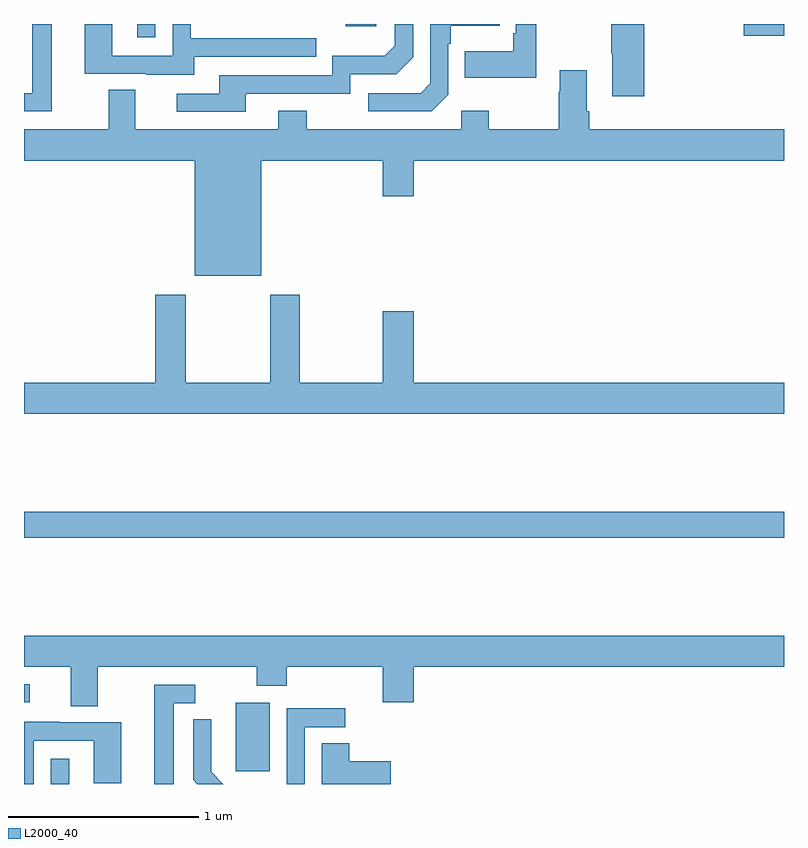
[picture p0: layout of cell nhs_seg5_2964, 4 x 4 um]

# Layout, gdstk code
import gdstk
lib = gdstk.Library(unit=1e-6, precision=1e-09)
def R(c, l, rs):  # rectangles x0, y0, x1, y1
    for r in rs: c.add(gdstk.rectangle(r[:2], r[2:], *l))
def P(c, l, *ps):  # polygons
    for p in ps: c.add(gdstk.Polygon(p, *l))
L2000_40 = (2000, 40)

nhs_seg5_2964 = lib.new_cell('nhs_seg5_2964')
R(nhs_seg5_2964, L2000_40, [(283.14,866.799,283.237,866.932), (284.114,866.865,284.293,867.226), (283,867.228,283.03,867.324), (283,868.096,287,868.232), (283.595,870.729,283.692,870.799), (286.788,870.737,287,870.799), (284.693,870.788,284.854,870.799)])
P(nhs_seg5_2964, L2000_40, [(283.897,870.627),(284.537,870.627),(284.537,870.723),(283.878,870.723),(283.878,870.799),(283.782,870.799),(283.782,870.633),(283.464,870.633),(283.464,870.799),(283.319,870.799),(283.319,870.537),(283.643,870.537),(283.643,870.533),(283.897,870.533)],
  [(285.234,870.426),(285.234,870.695),(285.247,870.695),(285.247,870.791),(285.503,870.791),(285.503,870.799),(285.138,870.799),(285.138,870.486),(285.087,870.435),(284.811,870.435),(284.811,870.339),(285.147,870.339)],
  [(285.697,870.799),(285.588,870.799),(285.588,870.751),(285.576,870.751),(285.576,870.655),(285.319,870.655),(285.319,870.515),(285.697,870.515)],
  [(284.167,870.432),(284.718,870.432),(284.718,870.534),(284.958,870.534),(285.048,870.624),(285.048,870.799),(284.952,870.799),(284.952,870.684),(284.899,870.631),(284.622,870.631),(284.622,870.528),(284.027,870.528),(284.027,870.432),(283.803,870.432),(283.803,870.336),(284.167,870.336)],
  [(286.265,870.799),(286.09,870.799),(286.09,870.643),(286.097,870.643),(286.097,870.42),(286.265,870.42)],
  [(283.147,870.799),(283.043,870.799),(283.043,870.435),(283,870.435),(283,870.339),(283.147,870.339)],
  [(285.961,870.34),(285.961,870.556),(285.821,870.556),(285.821,870.443),(285.814,870.443),(285.814,870.244),(285.447,870.244),(285.447,870.343),(285.3,870.343),(285.3,870.244),(284.487,870.244),(284.487,870.343),(284.339,870.343),(284.339,870.244),(283.585,870.244),(283.585,870.452),(283.445,870.452),(283.445,870.244),(283,870.244),(283,870.08),(283.898,870.08),(283.898,869.474),(284.248,869.474),(284.248,870.08),(284.888,870.08),(284.888,869.892),(285.052,869.892),(285.052,870.08),(287,870.08),(287,870.244),(285.974,870.244),(285.974,870.34)],
  [(287,868.912),(285.052,868.912),(285.052,869.287),(284.888,869.287),(284.888,868.912),(284.451,868.912),(284.451,869.374),(284.296,869.374),(284.296,868.912),(283.851,868.912),(283.851,869.374),(283.691,869.374),(283.691,868.912),(283,868.912),(283,868.748),(287,868.748)],
  [(283.387,867.416),(284.224,867.416),(284.224,867.317),(284.384,867.317),(284.384,867.416),(284.888,867.416),(284.888,867.228),(285.052,867.228),(285.052,867.416),(287,867.416),(287,867.58),(283,867.58),(283,867.416),(283.247,867.416),(283.247,867.208),(283.387,867.208)],
  [(283.789,867.225),(283.9,867.225),(283.9,867.321),(283.685,867.321),(283.685,866.799),(283.789,866.799)],
  [(284.478,867.099),(284.692,867.099),(284.692,867.198),(284.382,867.198),(284.382,866.799),(284.478,866.799)],
  [(283.985,866.864),(283.985,866.986),(283.986,866.986),(283.986,867.14),(283.89,867.14),(283.89,866.822),(283.913,866.799),(284.049,866.799)],
  [(283.05,867.027),(283.368,867.027),(283.368,866.803),(283.513,866.803),(283.513,867.123),(283.189,867.123),(283.189,867.127),(283,867.127),(283,866.799),(283.05,866.799)],
  [(284.929,866.919),(284.711,866.919),(284.711,867.014),(284.567,867.014),(284.567,866.799),(284.929,866.799)])

lib.write_gds('nhs_seg5_2964.gds')
